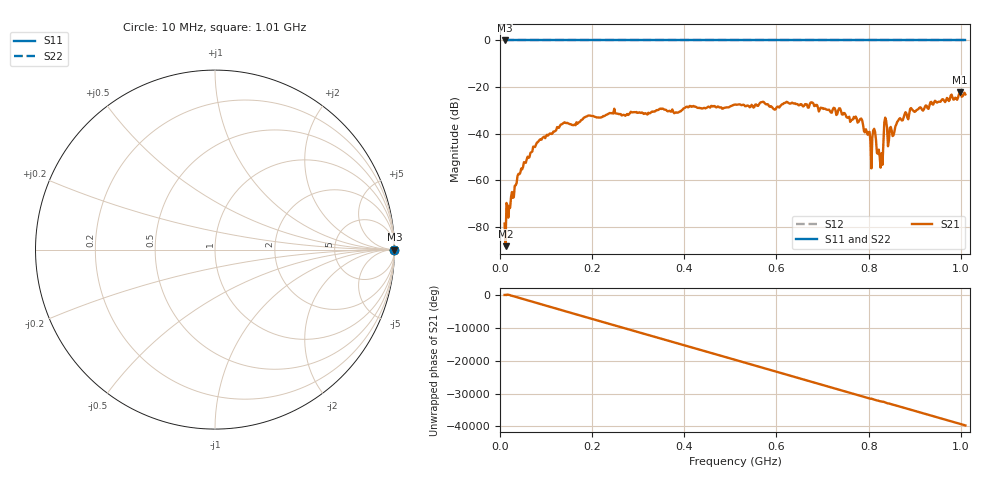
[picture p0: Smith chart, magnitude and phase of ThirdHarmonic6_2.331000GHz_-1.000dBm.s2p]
! 8/17/2025 3:22:42 AM
! C:\ANRITSUVNA\TEMP\TEMP.S2P
! CHANNEL.1
! TR.MEASUREMENT
! RAW.DATA
! RF.CORRECTION.OFF
! AVERAGING.OFF
! IF.BANDWIDTH: 5KHZ
! SWEEPTYPE:  FREQ.SWEEP(Linear)
! Reference Plane Port Info
! PORT:  PORT1  PORT2
! DISTANCE:  0  m  0  m
! TIME:  0  s  0  s
! PHASE.OFFSET:  0  deg.  0  deg.
! LOSS:  0  dB  0  dB
! REF.LOSS:  0  dB  0  dB
! REF.FREQ:  0  Hz  0  Hz
! Power Info
! POWER:  -20  dBm  -20  dBm
! EFF.POWER:  -20  dBm  -20  dBm
! SOURCE.ATTEN:  0  dB  0  dB
! TEST.ATTEN:  0  dB  0  dB
# GHZ S RI R 50.0
! FREQ.GHZ  S11RE  S11IM  S21RE  S21IM  S12RE  S12IM  S22RE  S22IM
!; PortSelection: Port_12
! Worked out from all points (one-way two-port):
!   501 points, 10 MHz to 1.01 GHz, reference 50 ohm
!   highest |S21| = -22.31 dB at 998 MHz (marker M1); lowest = -88.2 dB at 12 MHz (marker M2)
!   lowest |S11| = 0.0 dB at 10 MHz (marker M3)
!   |S11| at or under -10 dB: nowhere
!   |S22| runs from 0.0 to 0.0 dB; largest |S21 - S12| = 1.1
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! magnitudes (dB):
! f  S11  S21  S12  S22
! 10 MHz  0.0  -78.5  0.0  0.0
! 12 MHz  0.0  -88.2  0.0  0.0
! 42 MHz  0.0  -57.4  0.0  0.0
! 76 MHz  0.0  -45.7  0.0  0.0
! 136 MHz  0.0  -35.7  0.0  0.0
! 178 MHz  0.0  -34.0  0.0  0.0
! 344 MHz  0.0  -29.8  0.0  0.0
! 510 MHz  0.0  -27.5  0.0  0.0
! 596 MHz  0.0  -29.6  0.0  0.0
! 678 MHz  0.0  -26.6  0.0  0.0
! 784 MHz  0.0  -33.5  0.0  0.0
! 798 MHz  0.0  -40.4  0.0  0.0
! 802 MHz  0.0  -39.2  0.0  0.0
! 812 MHz  0.0  -37.9  0.0  0.0
! 822 MHz  0.0  -46.8  0.0  0.0
! 826 MHz  0.0  -54.5  0.0  0.0
! 828 MHz  0.0  -48.3  0.0  0.0
! 836 MHz  0.0  -33.1  0.0  0.0
! 844 MHz  0.0  -42.9  0.0  0.0
! 894 MHz  0.0  -29.5  0.0  0.0
! 998 MHz  0.0  -22.3  0.0  0.0
! 1.01 GHz  0.0  -23.1  0.0  0.0
